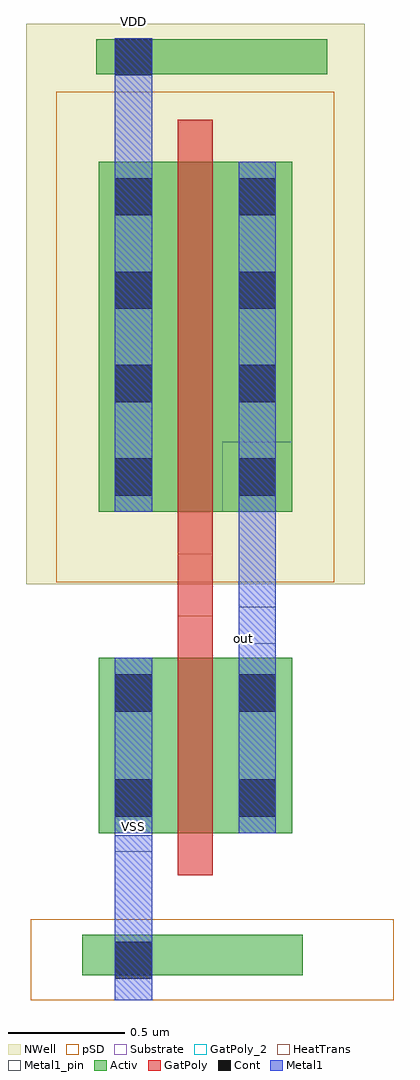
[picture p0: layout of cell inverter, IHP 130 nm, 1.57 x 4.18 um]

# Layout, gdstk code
import gdstk
lib = gdstk.Library(unit=1e-6, precision=5e-09)
def R(c, l, rs):  # rectangles x0, y0, x1, y1
    for r in rs: c.add(gdstk.rectangle(r[:2], r[2:], *l))
def A(c, l, x, y, w, h, nx, ny, dx, dy):  # array of equal rectangles
    R(c, l, [(x+i*dx, y+j*dy, x+i*dx+w, y+j*dy+h) for i in range(nx) for j in range(ny)])
Activ = (1, 0)
GatPoly = (5, 0)
GatPoly_2 = (5, 2)
Cont = (6, 0)
Metal1 = (8, 0)
Metal1_pin = (8, 2)
pSD = (14, 0)
NWell = (31, 0)
Substrate = (40, 0)
HeatTrans = (51, 0)

pmos_1 = lib.new_cell('pmos$1')
R(pmos_1, Activ, [(0,0,0.3,0.3), (0,0,0.83,1.5), (0.53,0,0.83,0.3)])
R(pmos_1, GatPoly, [(0.34,-0.18,0.49,1.68), (0.34,-0.18,0.49,1.68)])
A(pmos_1, Cont, 0.07, 0.07, 0.16, 0.16, 1, 4, 0, 0.4)
A(pmos_1, Cont, 0.6, 0.07, 0.16, 0.16, 1, 4, 0, 0.4)
R(pmos_1, Metal1, [(0.07,0,0.23,1.5), (0.07,0,0.23,1.5), (0.6,0,0.76,1.5), (0.6,0,0.76,1.5)])
R(pmos_1, pSD, [(-0.18,-0.3,1.01,1.8)])
R(pmos_1, NWell, [(-0.31,-0.31,1.14,1.81)])
R(pmos_1, Substrate, [(0.53,0,0.83,0.3)])
R(pmos_1, HeatTrans, [(0.34,-0.18,0.49,1.68)])
pmos_1.add(gdstk.Label('pmos', (0.415,0.75), layer=63, texttype=0))
pmos_1.add(gdstk.Label('pmos', (0.415,0.75), layer=51, texttype=0))

nmos = lib.new_cell('nmos')
R(nmos, Activ, [(0,0,0.3,0.3), (0,0,0.83,0.75), (0.53,0,0.83,0.3)])
R(nmos, GatPoly, [(0.34,-0.18,0.49,0.93)])
R(nmos, GatPoly_2, [(0.34,-0.18,0.49,0.93)])
R(nmos, Cont, [(0.07,0.07,0.23,0.23), (0.6,0.07,0.76,0.23), (0.07,0.52,0.23,0.68), (0.6,0.52,0.76,0.68)])
R(nmos, Metal1, [(0.07,0,0.23,0.75), (0.6,0,0.76,0.75)])
R(nmos, Metal1_pin, [(0.07,0,0.23,0.75), (0.6,0,0.76,0.75)])
R(nmos, HeatTrans, [(0.34,-0.18,0.49,0.93)])
nmos.add(gdstk.Label('nmos', (0.415,0.375), layer=63, texttype=0))
nmos.add(gdstk.Label('nmos', (0.415,0.375), layer=51, texttype=0))

inverter = lib.new_cell('inverter')
R(inverter, Activ, [(-0.48,-0.975,0.465,-0.8), (-0.42,2.885,0.57,3.035)])
R(inverter, GatPoly, [(-0.07,0.305,0.08,0.83)])
R(inverter, Cont, [(-0.34,-0.99,-0.18,-0.83), (-0.34,2.88,-0.18,3.04)])
R(inverter, Metal1, [(-0.34,-1.08,-0.18,-0.375), (0.19,0.055,0.35,1.01), (-0.34,2.51,-0.18,3.04)])
R(inverter, Metal1_pin, [(-0.34,-0.445,-0.18,-0.22), (0.19,0.445,0.35,0.605), (-0.34,2.88,-0.18,3.04)])
R(inverter, pSD, [(-0.7,-1.08,0.855,-0.735)])
R(inverter, NWell, [(-0.72,2.82,0.73,3.1)])
inverter.add(gdstk.Reference(pmos_1, (-0.41,1.01)))
inverter.add(gdstk.Reference(nmos, (-0.41,-0.365)))
inverter.add(gdstk.Label('out', (0.21,0.47), layer=8, texttype=2))
inverter.add(gdstk.Label('VSS', (-0.26,-0.335), layer=8, texttype=2))
inverter.add(gdstk.Label('VDD', (-0.26,3.11), layer=8, texttype=2))

lib.write_gds('inverter.gds')
